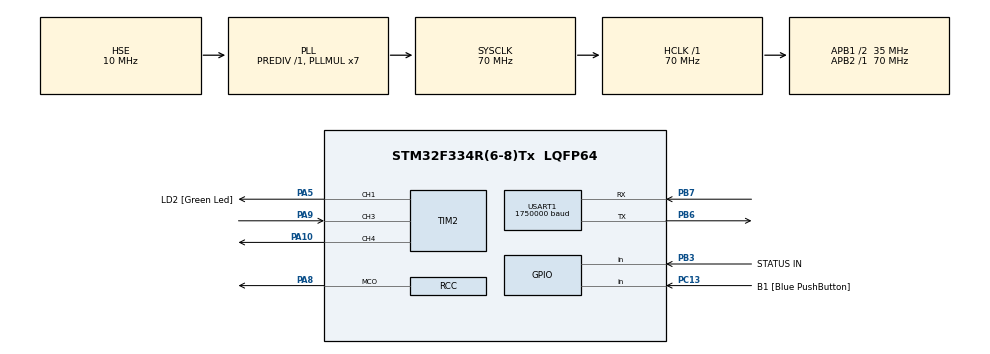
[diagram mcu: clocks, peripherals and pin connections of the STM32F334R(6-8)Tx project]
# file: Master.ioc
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Mcu.Family=STM32F3
Mcu.Name=STM32F334R(6-8)Tx
Mcu.Package=LQFP64
NVIC.PriorityGroup=NVIC_PRIORITYGROUP_0
PA10.GPIO_Speed=GPIO_SPEED_FREQ_HIGH
PA10.Signal=S_TIM2_CH4
PA13.GPIO_Label=TMS
PA13.Mode=Serial_Wire
PA13.Signal=SYS_JTMS-SWDIO
PA14.GPIO_Label=TCK
PA14.Mode=Serial_Wire
PA14.Signal=SYS_JTCK-SWCLK
PA5.GPIO_Label=LD2 [Green Led]
PA5.GPIO_Speed=GPIO_SPEED_FREQ_HIGH
PA5.Signal=S_TIM2_CH1_ETR
PA8.GPIO_Speed=GPIO_SPEED_FREQ_LOW
PA8.Mode=Clock-out
PA8.Signal=RCC_MCO
PA9.GPIO_PuPd=GPIO_PULLDOWN
PA9.GPIO_Speed=GPIO_SPEED_FREQ_HIGH
PA9.Signal=S_TIM2_CH3
PB3.GPIO_Label=STATUS IN
PB3.GPIO_PuPd=GPIO_PULLDOWN
PB3.Signal=GPIO_Input
PB6.GPIO_FM6=__NULL
PB6.Mode=Asynchronous
PB6.Signal=USART1_TX
PB7.GPIO_FM7=__NULL
PB7.GPIO_PuPd=GPIO_PULLUP
PB7.Mode=Asynchronous
PB7.Signal=USART1_RX
PC13.GPIO_Label=B1 [Blue PushButton]
PC13.Signal=GPIO_Input
PC14\ /\ OSC32_IN.Mode=LSE-External-Oscillator
PC14\ /\ OSC32_IN.Signal=RCC_OSC32_IN
PC15\ /\ OSC32_OUT.GPIO_Label=RCC_OSC32_OUT
PC15\ /\ OSC32_OUT.Mode=LSE-External-Oscillator
PC15\ /\ OSC32_OUT.Signal=RCC_OSC32_OUT
PF0\ /\ OSC_IN.Mode=HSE-External-Oscillator
PF0\ /\ OSC_IN.Signal=RCC_OSC_IN
PF1\ /\ OSC_OUT.Mode=HSE-External-Oscillator
PF1\ /\ OSC_OUT.Signal=RCC_OSC_OUT
ProjectManager.HeapSize=0x200
ProjectManager.StackSize=0x400
ProjectManager.TargetToolchain=STM32CubeIDE
RCC.AHBFreq_Value=70000000
RCC.APB1CLKDivider=RCC_HCLK_DIV2
RCC.APB1Freq_Value=35000000
RCC.APB1TimFreq_Value=70000000
RCC.APB2Freq_Value=70000000
RCC.APB2TimFreq_Value=70000000
RCC.CortexFreq_Value=70000000
RCC.FLatency-AdvancedSettings=FLASH_LATENCY_2
RCC.HCLKFreq_Value=70000000
RCC.HSE_VALUE=10000000
RCC.HSI_VALUE=8000000
RCC.PLLMUL=RCC_PLL_MUL7
RCC.PLLSourceVirtual=RCC_PLLSOURCE_HSE
RCC.RCC_MCOSource=RCC_MCO1SOURCE_HSE
RCC.SYSCLKFreq_VALUE=70000000
RCC.SYSCLKSourceVirtual=RCC_SYSCLKSOURCE_PLLCLK
SH.S_TIM2_CH1_ETR.0=TIM2_CH1,Output Compare1 CH1
SH.S_TIM2_CH3.0=TIM2_CH3,Input_Capture3_from_TI3
SH.S_TIM2_CH4.0=TIM2_CH4,Output Compare4 CH4
TIM2.AutoReloadPreload=TIM_AUTORELOAD_PRELOAD_ENABLE
TIM2.Channel-Input_Capture3_from_TI3=TIM_CHANNEL_3
TIM2.Channel-Output\ Compare1\ CH1=TIM_CHANNEL_1
TIM2.Channel-Output\ Compare4\ CH4=TIM_CHANNEL_4
TIM2.OCMode_1=TIM_OCMODE_TOGGLE
TIM2.OCMode_4=TIM_OCMODE_TOGGLE
TIM2.Pulse-Output\ Compare1\ CH1=4294967295
TIM2.Pulse-Output\ Compare4\ CH4=4294967295
USART1.BaudRate=1750000
USART1.Parity=PARITY_EVEN
USART1.VirtualMode-Asynchronous=VM_ASYNC
USART1.WordLength=WORDLENGTH_9B
VP_TIM2_VS_ClockSourceINT.Mode=Internal
board=NUCLEO-F334R8

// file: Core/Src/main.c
/* USER CODE BEGIN Header */
/**
  ******************************************************************************
  * @file           : main.c
  * @brief          : Main program body
  ******************************************************************************
  * @attention
  *
  * Copyright (c) 2023 STMicroelectronics.
  * All rights reserved.
  *
  * This software is licensed under terms that can be found in the LICENSE file
  * in the root directory of this software component.
  * If no LICENSE file comes with this software, it is provided AS-IS.
  *
  ******************************************************************************
  */
/* USER CODE END Header */
#include "main.h"

/* USER CODE BEGIN Includes */
#include "stdbool.h"
#include "math.h"
#include <stdio.h>
#include <string.h>
#include <stdlib.h>
/* USER CODE END Includes */

/* USER CODE BEGIN PD */
#define FREQ 70000000 // Clock frequency is 70 MHz
/* USER CODE END PD */

TIM_HandleTypeDef htim2;
UART_HandleTypeDef huart1;

/* USER CODE BEGIN PV */
int64_t currentTime, t1, t4 = 0;	// Timing variables
int i = 1; 							// Number of seconds to wait before LED starts toggling
int64_t PTPs = 0; 					// Number of times PTP algorithm has been completed
uint8_t buffer[8];					// UART buffer
int ERROR_TX, ERROR_RX = 0;			// Error indicators
/* USER CODE END PV */

void SystemClock_Config(void);
static void MX_GPIO_Init(void);
static void MX_TIM2_Init(void);
static void MX_USART1_UART_Init(void);

/* USER CODE BEGIN 0 */
// Function for transmitting a uint32_t message (msg) via UART
void uart_tx(int64_t msg)
{
	// Break up the 64-bit integer into 8-bit segments
	for (int i = 0; i < 8; i++)
	{
	  buffer[i] = (msg >> (i * 8)) & 0xFF;
	}

	// Send the data
	if (HAL_UART_Transmit(&huart1, buffer, 8, 100) != HAL_OK)
	{
	  // Transmission Error
	  ERROR_TX = 1;
	  Error_Handler();
	}
}

// Function for receiving a uint32_t message (msg) via UART
void uart_rx(int64_t *msg)
{
	// Clear UART buffer
	memset(buffer, 0, sizeof(buffer));

	// Receive the data
	if (HAL_UART_Receive(&huart1, buffer, 8, 100) != HAL_OK)
	{
	  // Reception Error
	  ERROR_RX = 1;
	  *msg = 0;
	  HAL_UART_DeInit(&huart1);
	  HAL_UART_Init(&huart1);
	  Error_Handler();
	  return;
	}

	// Reconstruct the 64-bit integer from the 8-bit segments
	*msg = 0;
	for (int i = 0; i < 8; i++)
	{
	  *msg |= ((int64_t)buffer[i]) << (i * 8);
	}
}

// Function for toggling logic level of a timer pin
void toggle_pulse(TIM_HandleTypeDef* htim, uint32_t channel){

    // Determine channel flag
	uint32_t channelFlag;
    switch(channel){
        case TIM_CHANNEL_1:
            channelFlag = TIM_FLAG_CC1;
            break;
        case TIM_CHANNEL_2:
            channelFlag = TIM_FLAG_CC2;
            break;
        case TIM_CHANNEL_3:
            channelFlag = TIM_FLAG_CC3;
            break;
        case TIM_CHANNEL_4:
            channelFlag = TIM_FLAG_CC4;
            break;
        default:
            return; // Invalid channel
    }

    // Set compare 250 clock cycles (~3.5us) ahead of current time
    currentTime = __HAL_TIM_GET_COUNTER(htim);
    __HAL_TIM_SET_COMPARE(htim, channel, (currentTime + 250) % __HAL_TIM_GET_AUTORELOAD(htim)); // Modulo accounts for overflow

    // Wait for OC event to trigger
    while(__HAL_TIM_GET_FLAG(htim, channelFlag) == RESET){
        // OC not yet triggered
    }

    // Clear OC flag in preparation for a future OC event
    __HAL_TIM_CLEAR_FLAG(htim, channelFlag);
}

// Master Sync Function
void sync_m(void)
{
	// Wait for the STATUS input pin to go high
	while(HAL_GPIO_ReadPin(GPIOB, GPIO_PIN_3) == GPIO_PIN_RESET){
		// Slave not ready for PTP
	}

	// Toggle master OC pin high
	toggle_pulse(&htim2, TIM_CHANNEL_4);

	// Record OC time as t1
	t1 = HAL_TIM_ReadCapturedValue(&htim2, TIM_CHANNEL_4);

	// Toggle master OC pin low
	toggle_pulse(&htim2, TIM_CHANNEL_4);
}

// Master Follow Up Function
void follow_up_m(void)
{
	// Wait for the STATUS input pin to go low
	while(HAL_GPIO_ReadPin(GPIOB, GPIO_PIN_3) == GPIO_PIN_SET){
		// Slave not ready for UART
	}

	// Transmit t1 to slave
	uart_tx(t1);
}

// Master Delay Req Function
void delay_req_m(void)
{
	// Wait for IC event to trigger
	while(__HAL_TIM_GET_FLAG(&htim2, TIM_FLAG_CC3) == RESET){
		// Waiting for slave to respond
	}

	// Clear IC flag in preparation for a future IC event
	__HAL_TIM_CLEAR_FLAG(&htim2, TIM_FLAG_CC3);

	// Record IC time as t4
	t4 = HAL_TIM_ReadCapturedValue(&htim2, TIM_CHANNEL_3);
}

// Master Delay Res Function
void delay_res_m(void)
{
	// Wait for the STATUS input pin to go low
	while(HAL_GPIO_ReadPin(GPIOB, GPIO_PIN_3) == GPIO_PIN_SET){
		// Slave not ready for UART
	}

	// Transmit t4 to slave
	uart_tx(t4);
}

// Function for configuring the output pin (timer 2, channel 1) for synchronisation performance testing
void update_output(void)
{
	// If an OC event has been triggered
	if(__HAL_TIM_GET_FLAG(&htim2, TIM_FLAG_CC1) == SET){

		i++;

		if(i > __HAL_TIM_GET_AUTORELOAD(&htim2) / FREQ){
			i = 1; // Reset i to 1 on timer overflow
		}

		// Clear OC flag in preparation for a future OC event
		__HAL_TIM_CLEAR_FLAG(&htim2, TIM_FLAG_CC1);

		// Set compare 1 second ahead
		__HAL_TIM_SET_COMPARE(&htim2, TIM_CHANNEL_1, (i*FREQ) % __HAL_TIM_GET_AUTORELOAD(&htim2)); // Modulo accounts for timer overflow
		}
}
/* USER CODE END 0 */

int main(void)
{

  /* MCU Configuration--------------------------------------------------------*/

  /* Reset of all peripherals, Initializes the Flash interface and the Systick. */
  HAL_Init();

  /* Configure the system clock */
  SystemClock_Config();

  /* Initialize all configured peripherals */
  MX_GPIO_Init();
  MX_TIM2_Init();
  MX_USART1_UART_Init();
  /* USER CODE BEGIN 2 */

  // Wait for the blue push button to be pressed
  while(HAL_GPIO_ReadPin(GPIOC, GPIO_PIN_13) == GPIO_PIN_SET){}

  // Start timer 2
  HAL_TIM_Base_Start(&htim2);
  HAL_TIM_OC_Start(&htim2, TIM_CHANNEL_1); // OC test channel
  HAL_TIM_IC_Start(&htim2, TIM_CHANNEL_3); // IC master channel
  HAL_TIM_OC_Start(&htim2, TIM_CHANNEL_4); // OC master channel
  __HAL_TIM_SET_COMPARE(&htim2, TIM_CHANNEL_1, i * FREQ); // Set test OC to start after i seconds
  /* USER CODE END 2 */

  /* Infinite loop */
  /* USER CODE BEGIN WHILE */
  while (1)
  {
	  // PTP as master
	  sync_m();
	  follow_up_m();
	  delay_req_m();
	  delay_res_m();

	  // Configure test output
	  update_output();
	  PTPs++;
    /* USER CODE END WHILE */

  }
}

void SystemClock_Config(void)
{
  RCC_OscInitTypeDef RCC_OscInitStruct = {0};
  RCC_ClkInitTypeDef RCC_ClkInitStruct = {0};
  RCC_PeriphCLKInitTypeDef PeriphClkInit = {0};

  /** Initializes the RCC Oscillators according to the specified parameters
  * in the RCC_OscInitTypeDef structure.
  */
  RCC_OscInitStruct.OscillatorType = RCC_OSCILLATORTYPE_HSE;
  RCC_OscInitStruct.HSEState = RCC_HSE_ON;
  RCC_OscInitStruct.HSEPredivValue = RCC_HSE_PREDIV_DIV1;
  RCC_OscInitStruct.HSIState = RCC_HSI_ON;
  RCC_OscInitStruct.PLL.PLLState = RCC_PLL_ON;
  RCC_OscInitStruct.PLL.PLLSource = RCC_PLLSOURCE_HSE;
  RCC_OscInitStruct.PLL.PLLMUL = RCC_PLL_MUL7;
  if (HAL_RCC_OscConfig(&RCC_OscInitStruct) != HAL_OK)
  {
    Error_Handler();
  }

  /** Initializes the CPU, AHB and APB buses clocks
  */
  RCC_ClkInitStruct.ClockType = RCC_CLOCKTYPE_HCLK|RCC_CLOCKTYPE_SYSCLK
                              |RCC_CLOCKTYPE_PCLK1|RCC_CLOCKTYPE_PCLK2;
  RCC_ClkInitStruct.SYSCLKSource = RCC_SYSCLKSOURCE_PLLCLK;
  RCC_ClkInitStruct.AHBCLKDivider = RCC_SYSCLK_DIV1;
  RCC_ClkInitStruct.APB1CLKDivider = RCC_HCLK_DIV2;
  RCC_ClkInitStruct.APB2CLKDivider = RCC_HCLK_DIV1;

  if (HAL_RCC_ClockConfig(&RCC_ClkInitStruct, FLASH_LATENCY_2) != HAL_OK)
  {
    Error_Handler();
  }
  PeriphClkInit.PeriphClockSelection = RCC_PERIPHCLK_USART1;
  PeriphClkInit.Usart1ClockSelection = RCC_USART1CLKSOURCE_PCLK1;
  if (HAL_RCCEx_PeriphCLKConfig(&PeriphClkInit) != HAL_OK)
  {
    Error_Handler();
  }
  HAL_RCC_MCOConfig(RCC_MCO, RCC_MCO1SOURCE_HSE, RCC_MCODIV_1);
}

static void MX_TIM2_Init(void)
{

  TIM_ClockConfigTypeDef sClockSourceConfig = {0};
  TIM_MasterConfigTypeDef sMasterConfig = {0};
  TIM_OC_InitTypeDef sConfigOC = {0};
  TIM_IC_InitTypeDef sConfigIC = {0};

  htim2.Instance = TIM2;
  htim2.Init.Prescaler = 0;
  htim2.Init.CounterMode = TIM_COUNTERMODE_UP;
  htim2.Init.Period = 4294967295;
  htim2.Init.ClockDivision = TIM_CLOCKDIVISION_DIV1;
  htim2.Init.AutoReloadPreload = TIM_AUTORELOAD_PRELOAD_ENABLE;
  if (HAL_TIM_Base_Init(&htim2) != HAL_OK)
  {
    Error_Handler();
  }
  sClockSourceConfig.ClockSource = TIM_CLOCKSOURCE_INTERNAL;
  if (HAL_TIM_ConfigClockSource(&htim2, &sClockSourceConfig) != HAL_OK)
  {
    Error_Handler();
  }
  if (HAL_TIM_OC_Init(&htim2) != HAL_OK)
  {
    Error_Handler();
  }
  if (HAL_TIM_IC_Init(&htim2) != HAL_OK)
  {
    Error_Handler();
  }
  sMasterConfig.MasterOutputTrigger = TIM_TRGO_RESET;
  sMasterConfig.MasterSlaveMode = TIM_MASTERSLAVEMODE_DISABLE;
  if (HAL_TIMEx_MasterConfigSynchronization(&htim2, &sMasterConfig) != HAL_OK)
  {
    Error_Handler();
  }
  sConfigOC.OCMode = TIM_OCMODE_TOGGLE;
  sConfigOC.Pulse = 4294967295;
  sConfigOC.OCPolarity = TIM_OCPOLARITY_HIGH;
  sConfigOC.OCFastMode = TIM_OCFAST_DISABLE;
  if (HAL_TIM_OC_ConfigChannel(&htim2, &sConfigOC, TIM_CHANNEL_1) != HAL_OK)
  {
    Error_Handler();
  }
  sConfigIC.ICPolarity = TIM_INPUTCHANNELPOLARITY_RISING;
  sConfigIC.ICSelection = TIM_ICSELECTION_DIRECTTI;
  sConfigIC.ICPrescaler = TIM_ICPSC_DIV1;
  sConfigIC.ICFilter = 0;
  if (HAL_TIM_IC_ConfigChannel(&htim2, &sConfigIC, TIM_CHANNEL_3) != HAL_OK)
  {
    Error_Handler();
  }
  if (HAL_TIM_OC_ConfigChannel(&htim2, &sConfigOC, TIM_CHANNEL_4) != HAL_OK)
  {
    Error_Handler();
  }
  HAL_TIM_MspPostInit(&htim2);

}

static void MX_USART1_UART_Init(void)
{

  huart1.Instance = USART1;
  huart1.Init.BaudRate = 1750000;
  huart1.Init.WordLength = UART_WORDLENGTH_9B;
  huart1.Init.StopBits = UART_STOPBITS_1;
  huart1.Init.Parity = UART_PARITY_EVEN;
  huart1.Init.Mode = UART_MODE_TX_RX;
  huart1.Init.HwFlowCtl = UART_HWCONTROL_NONE;
  huart1.Init.OverSampling = UART_OVERSAMPLING_16;
  huart1.Init.OneBitSampling = UART_ONE_BIT_SAMPLE_DISABLE;
  huart1.AdvancedInit.AdvFeatureInit = UART_ADVFEATURE_NO_INIT;
  if (HAL_UART_Init(&huart1) != HAL_OK)
  {
    Error_Handler();
  }

}

static void MX_GPIO_Init(void)
{
  GPIO_InitTypeDef GPIO_InitStruct = {0};

  /* GPIO Ports Clock Enable */
  __HAL_RCC_GPIOC_CLK_ENABLE();
  __HAL_RCC_GPIOF_CLK_ENABLE();
  __HAL_RCC_GPIOA_CLK_ENABLE();
  __HAL_RCC_GPIOB_CLK_ENABLE();

  /*Configure GPIO pin : B1_Pin */
  GPIO_InitStruct.Pin = B1_Pin;
  GPIO_InitStruct.Mode = GPIO_MODE_INPUT;
  GPIO_InitStruct.Pull = GPIO_NOPULL;
  HAL_GPIO_Init(B1_GPIO_Port, &GPIO_InitStruct);

  /*Configure GPIO pin : PA8 */
  GPIO_InitStruct.Pin = GPIO_PIN_8;
  GPIO_InitStruct.Mode = GPIO_MODE_AF_PP;
  GPIO_InitStruct.Pull = GPIO_NOPULL;
  GPIO_InitStruct.Speed = GPIO_SPEED_FREQ_LOW;
  GPIO_InitStruct.Alternate = GPIO_AF0_MCO;
  HAL_GPIO_Init(GPIOA, &GPIO_InitStruct);

  /*Configure GPIO pin : STATUS_IN_Pin */
  GPIO_InitStruct.Pin = STATUS_IN_Pin;
  GPIO_InitStruct.Mode = GPIO_MODE_INPUT;
  GPIO_InitStruct.Pull = GPIO_PULLDOWN;
  HAL_GPIO_Init(STATUS_IN_GPIO_Port, &GPIO_InitStruct);

}

void Error_Handler(void)
{
  __disable_irq();
  while (1)
  {
  }
}
